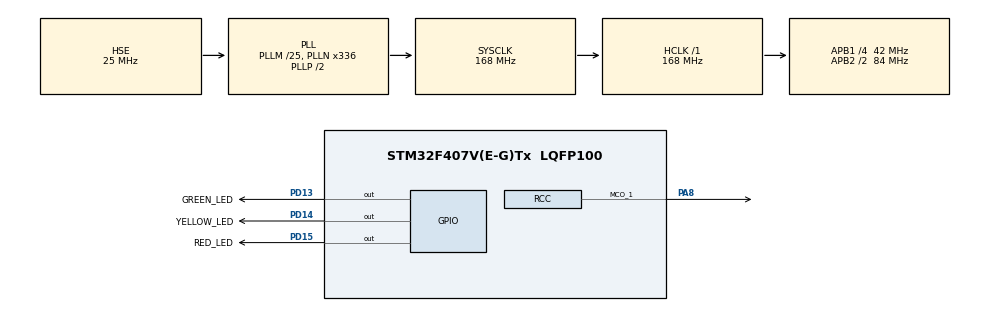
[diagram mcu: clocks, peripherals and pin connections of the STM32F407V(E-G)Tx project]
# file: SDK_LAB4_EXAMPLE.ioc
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FREERTOS.BinarySemaphores01=myBinarySem01,Dynamic,NULL;myBinarySem02,Dynamic,NULL
FREERTOS.Tasks01=tast1,0,128,StartTask1,Default,NULL,Dynamic,NULL,NULL;task2,0,128,StartTask2,Default,NULL,Dynamic,NULL,NULL
Mcu.Family=STM32F4
Mcu.Name=STM32F407V(E-G)Tx
Mcu.Package=LQFP100
NVIC.PriorityGroup=NVIC_PRIORITYGROUP_4
NVIC.TIM1_UP_TIM10_IRQn=true\:15\:0\:false\:false\:true\:false\:false\:true\:true
NVIC.TimeBase=TIM1_UP_TIM10_IRQn
NVIC.TimeBaseIP=TIM1
PA13.Mode=JTAG_5_pins
PA13.Signal=SYS_JTMS-SWDIO
PA14.Mode=JTAG_5_pins
PA14.Signal=SYS_JTCK-SWCLK
PA15.Mode=JTAG_5_pins
PA15.Signal=SYS_JTDI
PA8.Mode=Clock-out-1
PA8.Signal=RCC_MCO_1
PB3.Mode=JTAG_5_pins
PB3.Signal=SYS_JTDO-SWO
PB4.Mode=JTAG_5_pins
PB4.Signal=SYS_JTRST
PD13.GPIO_Label=GREEN_LED
PD13.GPIO_Speed=GPIO_SPEED_FREQ_HIGH
PD13.PinState=GPIO_PIN_RESET
PD13.Signal=GPIO_Output
PD14.GPIO_Label=YELLOW_LED
PD14.GPIO_Speed=GPIO_SPEED_FREQ_HIGH
PD14.PinState=GPIO_PIN_RESET
PD14.Signal=GPIO_Output
PD15.GPIO_Label=RED_LED
PD15.GPIO_Speed=GPIO_SPEED_FREQ_HIGH
PD15.PinState=GPIO_PIN_RESET
PD15.Signal=GPIO_Output
PH0-OSC_IN.Mode=HSE-External-Oscillator
PH0-OSC_IN.Signal=RCC_OSC_IN
PH1-OSC_OUT.Mode=HSE-External-Oscillator
PH1-OSC_OUT.Signal=RCC_OSC_OUT
ProjectManager.HeapSize=0x200
ProjectManager.StackSize=0x400
ProjectManager.TargetToolchain=STM32CubeIDE
RCC.48MHZClocksFreq_Value=84000000
RCC.AHBFreq_Value=168000000
RCC.APB1CLKDivider=RCC_HCLK_DIV4
RCC.APB1Freq_Value=42000000
RCC.APB1TimFreq_Value=84000000
RCC.APB2CLKDivider=RCC_HCLK_DIV2
RCC.APB2Freq_Value=84000000
RCC.APB2TimFreq_Value=168000000
RCC.CortexFreq_Value=168000000
RCC.HCLKFreq_Value=168000000
RCC.HSE_VALUE=25000000
RCC.HSI_VALUE=16000000
RCC.LSE_VALUE=32768
RCC.PLLM=25
RCC.PLLN=336
RCC.PLLSourceVirtual=RCC_PLLSOURCE_HSE
RCC.SYSCLKFreq_VALUE=168000000
RCC.SYSCLKSource=RCC_SYSCLKSOURCE_PLLCLK
RCC.VCOOutputFreq_Value=336000000
VP_FREERTOS_VS_CMSIS_V1.Mode=CMSIS_V1
VP_SYS_VS_tim1.Mode=TIM1
board=custom

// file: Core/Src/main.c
/* USER CODE BEGIN Header */
/**
  ******************************************************************************
  * @file           : main.c
  * @brief          : Main program body
  ******************************************************************************
  * @attention
  *
  * Copyright (c) 2023 STMicroelectronics.
  * All rights reserved.
  *
  * This software is licensed under terms that can be found in the LICENSE file
  * in the root directory of this software component.
  * If no LICENSE file comes with this software, it is provided AS-IS.
  *
  ******************************************************************************
  */
/* USER CODE END Header */
#include "main.h"
#include "cmsis_os.h"
#include "gpio.h"

void SystemClock_Config(void);
void MX_FREERTOS_Init(void);

int main(void)
{

  /* MCU Configuration--------------------------------------------------------*/

  /* Reset of all peripherals, Initializes the Flash interface and the Systick. */
  HAL_Init();

  /* Configure the system clock */
  SystemClock_Config();

  /* Initialize all configured peripherals */
  MX_GPIO_Init();

  /* Call init function for freertos objects (in freertos.c) */
  MX_FREERTOS_Init();

  /* Start scheduler */
  osKernelStart();
  /* We should never get here as control is now taken by the scheduler */
  /* Infinite loop */
  /* USER CODE BEGIN WHILE */
  while (1)
  {
	  HAL_GPIO_TogglePin(GPIOD, GPIO_PIN_13);
	  HAL_Delay(500);
	  HAL_GPIO_TogglePin(GPIOD, GPIO_PIN_15);
	  HAL_Delay(500);
	  HAL_GPIO_TogglePin(GPIOD, GPIO_PIN_15);
	  HAL_Delay(500);
	  HAL_GPIO_TogglePin(GPIOD, GPIO_PIN_14);
	  HAL_Delay(500);
	  HAL_GPIO_TogglePin(GPIOD, GPIO_PIN_14);
	  HAL_Delay(500);
    /* USER CODE END WHILE */

  }
}

void SystemClock_Config(void)
{
  RCC_OscInitTypeDef RCC_OscInitStruct = {0};
  RCC_ClkInitTypeDef RCC_ClkInitStruct = {0};

  /** Configure the main internal regulator output voltage
  */
  __HAL_RCC_PWR_CLK_ENABLE();
  __HAL_PWR_VOLTAGESCALING_CONFIG(PWR_REGULATOR_VOLTAGE_SCALE1);

  /** Initializes the RCC Oscillators according to the specified parameters
  * in the RCC_OscInitTypeDef structure.
  */
  RCC_OscInitStruct.OscillatorType = RCC_OSCILLATORTYPE_HSI|RCC_OSCILLATORTYPE_HSE;
  RCC_OscInitStruct.HSEState = RCC_HSE_ON;
  RCC_OscInitStruct.HSIState = RCC_HSI_ON;
  RCC_OscInitStruct.HSICalibrationValue = RCC_HSICALIBRATION_DEFAULT;
  RCC_OscInitStruct.PLL.PLLState = RCC_PLL_ON;
  RCC_OscInitStruct.PLL.PLLSource = RCC_PLLSOURCE_HSE;
  RCC_OscInitStruct.PLL.PLLM = 25;
  RCC_OscInitStruct.PLL.PLLN = 336;
  RCC_OscInitStruct.PLL.PLLP = RCC_PLLP_DIV2;
  RCC_OscInitStruct.PLL.PLLQ = 4;
  if (HAL_RCC_OscConfig(&RCC_OscInitStruct) != HAL_OK)
  {
    Error_Handler();
  }

  /** Initializes the CPU, AHB and APB buses clocks
  */
  RCC_ClkInitStruct.ClockType = RCC_CLOCKTYPE_HCLK|RCC_CLOCKTYPE_SYSCLK
                              |RCC_CLOCKTYPE_PCLK1|RCC_CLOCKTYPE_PCLK2;
  RCC_ClkInitStruct.SYSCLKSource = RCC_SYSCLKSOURCE_PLLCLK;
  RCC_ClkInitStruct.AHBCLKDivider = RCC_SYSCLK_DIV1;
  RCC_ClkInitStruct.APB1CLKDivider = RCC_HCLK_DIV4;
  RCC_ClkInitStruct.APB2CLKDivider = RCC_HCLK_DIV2;

  if (HAL_RCC_ClockConfig(&RCC_ClkInitStruct, FLASH_LATENCY_5) != HAL_OK)
  {
    Error_Handler();
  }
  HAL_RCC_MCOConfig(RCC_MCO1, RCC_MCO1SOURCE_HSI, RCC_MCODIV_1);
}

void HAL_TIM_PeriodElapsedCallback(TIM_HandleTypeDef *htim)
{
  if (htim->Instance == TIM1) {
    HAL_IncTick();
  }
}

void Error_Handler(void)
{
  __disable_irq();
  while (1)
  {
  }
}

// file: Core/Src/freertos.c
/* USER CODE BEGIN Header */
/**
  ******************************************************************************
  * File Name          : freertos.c
  * Description        : Code for freertos applications
  ******************************************************************************
  * @attention
  *
  * Copyright (c) 2024 STMicroelectronics.
  * All rights reserved.
  *
  * This software is licensed under terms that can be found in the LICENSE file
  * in the root directory of this software component.
  * If no LICENSE file comes with this software, it is provided AS-IS.
  *
  ******************************************************************************
  */
/* USER CODE END Header */

#include "FreeRTOS.h"
#include "task.h"
#include "main.h"
#include "cmsis_os.h"

osThreadId task1Handle;
osThreadId task2Handle;
osThreadId task3Handle;
osSemaphoreId semTask1Handle;
osSemaphoreId semTask2Handle;
osSemaphoreId semTask3Handle;

void StartTask1(void const * argument);
void StartTask2(void const * argument);
void StartTask3(void const * argument);

void MX_FREERTOS_Init(void); /* (MISRA C 2004 rule 8.1) */

/* GetIdleTaskMemory prototype (linked to static allocation support) */
void vApplicationGetIdleTaskMemory( StaticTask_t **ppxIdleTaskTCBBuffer, StackType_t **ppxIdleTaskStackBuffer, uint32_t *pulIdleTaskStackSize );

/* USER CODE BEGIN GET_IDLE_TASK_MEMORY */
static StaticTask_t xIdleTaskTCBBuffer;
static StackType_t xIdleStack[configMINIMAL_STACK_SIZE];

void vApplicationGetIdleTaskMemory( StaticTask_t **ppxIdleTaskTCBBuffer, StackType_t **ppxIdleTaskStackBuffer, uint32_t *pulIdleTaskStackSize )
{
  *ppxIdleTaskTCBBuffer = &xIdleTaskTCBBuffer;
  *ppxIdleTaskStackBuffer = &xIdleStack[0];
  *pulIdleTaskStackSize = configMINIMAL_STACK_SIZE;
  /* place for user code */
}
/* USER CODE END GET_IDLE_TASK_MEMORY */

void MX_FREERTOS_Init(void) {
	  osSemaphoreDef(semTask1);
	  semTask1Handle = osSemaphoreCreate(osSemaphore(semTask1), 1);
	  osSemaphoreWait(semTask1Handle, 0);  // 初始化为0

	  osSemaphoreDef(semTask2);
	  semTask2Handle = osSemaphoreCreate(osSemaphore(semTask2), 1);
	  osSemaphoreWait(semTask2Handle, 0);  // 初始化为0

	  osSemaphoreDef(semTask3);
	  semTask3Handle = osSemaphoreCreate(osSemaphore(semTask3), 1);
	  osSemaphoreWait(semTask3Handle, 0);  // 初始化为0

	  osThreadDef(task1, StartTask1, osPriorityNormal, 0, 128);
	  task1Handle = osThreadCreate(osThread(task1), NULL);

	  osThreadDef(task2, StartTask2, osPriorityNormal, 0, 128);
	  task2Handle = osThreadCreate(osThread(task2), NULL);

	  osThreadDef(task3, StartTask3, osPriorityNormal, 0, 128);
	  task3Handle = osThreadCreate(osThread(task3), NULL);

	  osSemaphoreRelease(semTask1Handle);  // 启动任务1

	  osKernelStart();
}

void BlinkLED(GPIO_TypeDef *GPIOx, uint16_t GPIO_Pin, int times, int delayMs) {
    for (int i = 0; i < times; i++) {
        HAL_GPIO_TogglePin(GPIOx, GPIO_Pin);
        HAL_Delay(delayMs);
        HAL_GPIO_TogglePin(GPIOx, GPIO_Pin);
        HAL_Delay(delayMs);
    }
}

void StartTask1(void const * argument)
{
  /* USER CODE BEGIN StartTask1 */
  /* Infinite loop */
  for(;;)
  {
	    osSemaphoreWait(semTask1Handle, osWaitForever);
	    BlinkLED(RED_LED_GPIO_Port, RED_LED_Pin, 3, 500);
	    osSemaphoreRelease(semTask2Handle);
  }
  /* USER CODE END StartTask1 */
}

void StartTask2(void const * argument)
{
  /* USER CODE BEGIN StartTask2 */
  /* Infinite loop */
  for(;;)
  {
	    osSemaphoreWait(semTask2Handle, osWaitForever);
	    BlinkLED(YELLOW_LED_GPIO_Port, YELLOW_LED_Pin, 3, 500);
	    osSemaphoreRelease(semTask3Handle);
  }
  /* USER CODE END StartTask2 */
}

void StartTask3(void const * argument)
{
  /* USER CODE BEGIN StartTask3 */
  /* Infinite loop */
  for(;;)
  {
	    osSemaphoreWait(semTask3Handle, osWaitForever);
	    BlinkLED(GREEN_LED_GPIO_Port, GREEN_LED_Pin, 4, 500);
	    osSemaphoreRelease(semTask1Handle);
  }
  /* USER CODE END StartTask3 */
}
